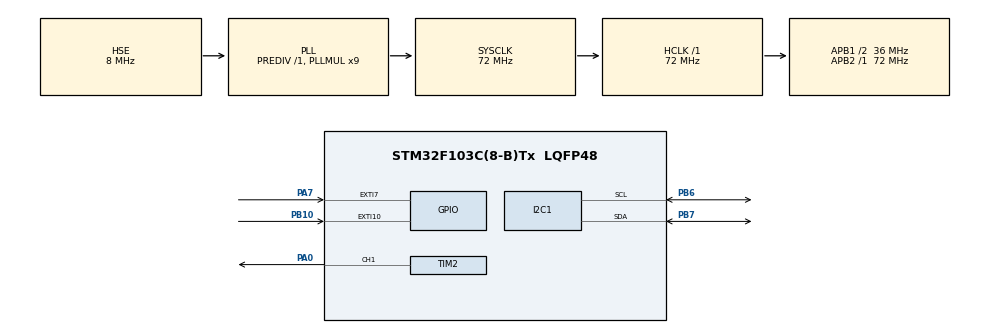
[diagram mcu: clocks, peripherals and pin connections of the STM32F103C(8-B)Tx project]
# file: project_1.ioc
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Mcu.Family=STM32F1
Mcu.Name=STM32F103C(8-B)Tx
Mcu.Package=LQFP48
NVIC.EXTI15_10_IRQn=true\:0\:0\:false\:false\:true\:true\:true\:true
NVIC.EXTI9_5_IRQn=true\:0\:0\:false\:false\:true\:true\:true\:true
NVIC.PriorityGroup=NVIC_PRIORITYGROUP_4
NVIC.TIM1_UP_IRQn=true\:0\:0\:false\:false\:true\:true\:true\:true
NVIC.TIM3_IRQn=true\:0\:0\:false\:false\:true\:true\:true\:true
PA0-WKUP.Signal=S_TIM2_CH1_ETR
PA13.Mode=Serial_Wire
PA13.Signal=SYS_JTMS-SWDIO
PA14.Mode=Serial_Wire
PA14.Signal=SYS_JTCK-SWCLK
PA7.GPIO_PuPd=GPIO_PULLUP
PA7.Signal=GPXTI7
PB10.GPIO_PuPd=GPIO_PULLUP
PB10.Signal=GPXTI10
PB6.Mode=I2C
PB6.Signal=I2C1_SCL
PB7.Mode=I2C
PB7.Signal=I2C1_SDA
PD0-OSC_IN.Mode=HSE-External-Oscillator
PD0-OSC_IN.Signal=RCC_OSC_IN
PD1-OSC_OUT.Mode=HSE-External-Oscillator
PD1-OSC_OUT.Signal=RCC_OSC_OUT
ProjectManager.HeapSize=0x200
ProjectManager.StackSize=0x400
ProjectManager.TargetToolchain=MDK-ARM V5.32
RCC.AHBFreq_Value=72000000
RCC.APB1CLKDivider=RCC_HCLK_DIV2
RCC.APB1Freq_Value=36000000
RCC.APB1TimFreq_Value=72000000
RCC.APB2Freq_Value=72000000
RCC.APB2TimFreq_Value=72000000
RCC.HCLKFreq_Value=72000000
RCC.PLLMUL=RCC_PLL_MUL9
RCC.PLLSourceVirtual=RCC_PLLSOURCE_HSE
RCC.SYSCLKFreq_VALUE=72000000
RCC.SYSCLKSource=RCC_SYSCLKSOURCE_PLLCLK
RCC.USBFreq_Value=72000000
SH.S_TIM2_CH1_ETR.0=TIM2_CH1,PWM Generation1 CH1
TIM1.Period=0xffff
TIM1.Prescaler=71
TIM2.Channel-PWM\ Generation1\ CH1=TIM_CHANNEL_1
TIM2.Period=1000
TIM2.Prescaler=71
TIM3.Period=9999
TIM3.Prescaler=71
VP_TIM1_VS_ClockSourceINT.Mode=Internal
VP_TIM3_VS_ClockSourceINT.Mode=Internal
board=custom

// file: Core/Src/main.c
/* USER CODE BEGIN Header */
/**
  ******************************************************************************
  * @file           : main.c
  * @brief          : Main program body
  ******************************************************************************
  * @attention
  *
  * <h2><center>&copy; Copyright (c) 2022 STMicroelectronics.
  * All rights reserved.</center></h2>
  *
  * This software component is licensed by ST under BSD 3-Clause license,
  * the "License"; You may not use this file except in compliance with the
  * License. You may obtain a copy of the License at:
  *                        opensource.org/licenses/BSD-3-Clause
  *
  ******************************************************************************
  */
/* USER CODE END Header */
#include "main.h"
#include "i2c-lcd.h"  // Bao g?m t?p tiъu d? ch?a khai bсo hрm lcd_init
#include <stdio.h>

I2C_HandleTypeDef hi2c1;

TIM_HandleTypeDef htim1;
TIM_HandleTypeDef htim2;
TIM_HandleTypeDef htim3;

void SystemClock_Config(void);
static void MX_GPIO_Init(void);
static void MX_TIM1_Init(void);
static void MX_I2C1_Init(void);
static void MX_TIM2_Init(void);
static void MX_TIM3_Init(void);

/* USER CODE BEGIN 0 */

//Sensor
#define DHT22_PORT GPIOB
#define DHT22_PIN GPIO_PIN_9
uint8_t RH1, RH2, TC1, TC2, SUM, CHECK;
uint32_t pMillis, cMillis;
float Temp = 0;
float tFahrenheit = 0;
float RH = 0;
int output =0;
//PID
float error = 0, error_truoc = 0;
float P;
static float integral = 0, derivative =0;
float interaltruoc;
float setpoint = 37, Kp = 120, Ki = 4, Kd = 5;
float Delta_t = 0.01;
//PID
void microDelay (uint16_t delay)
{
  __HAL_TIM_SET_COUNTER(&htim1, 0);
  while (__HAL_TIM_GET_COUNTER(&htim1) < delay);
}

//DHT22
uint8_t DHT22_Start (void)
{
  uint8_t Response = 0;
  GPIO_InitTypeDef GPIO_InitStructPrivate = {0};
  GPIO_InitStructPrivate.Pin = DHT22_PIN;
  GPIO_InitStructPrivate.Mode = GPIO_MODE_OUTPUT_PP;
  GPIO_InitStructPrivate.Speed = GPIO_SPEED_FREQ_LOW;
  GPIO_InitStructPrivate.Pull = GPIO_NOPULL;
  HAL_GPIO_Init(DHT22_PORT, &GPIO_InitStructPrivate); // set the pin as output
  HAL_GPIO_WritePin (DHT22_PORT, DHT22_PIN, 0);   // pull the pin low
  microDelay (1300);   // wait for 1300us
  HAL_GPIO_WritePin (DHT22_PORT, DHT22_PIN, 1);   // pull the pin high
  microDelay (30);   // wait for 30us
  GPIO_InitStructPrivate.Mode = GPIO_MODE_INPUT;
  GPIO_InitStructPrivate.Pull = GPIO_PULLUP;
  HAL_GPIO_Init(DHT22_PORT, &GPIO_InitStructPrivate); // set the pin as input
  microDelay (40);
  if (!(HAL_GPIO_ReadPin (DHT22_PORT, DHT22_PIN)))
  {
    microDelay (80);
    if ((HAL_GPIO_ReadPin (DHT22_PORT, DHT22_PIN))) Response = 1;
  }
  pMillis = HAL_GetTick();
  cMillis = HAL_GetTick();
  while ((HAL_GPIO_ReadPin (DHT22_PORT, DHT22_PIN)) && pMillis + 2 > cMillis)
  {
    cMillis = HAL_GetTick();
  }
  return Response;
}

uint8_t DHT22_Read (void)
{
  uint8_t a,b;
  for (a=0;a<8;a++)
  {
    pMillis = HAL_GetTick();
    cMillis = HAL_GetTick();
    while (!(HAL_GPIO_ReadPin (DHT22_PORT, DHT22_PIN)) && pMillis + 2 > cMillis)
    {  // wait for the pin to go high
      cMillis = HAL_GetTick();
    }
    microDelay (40);   // wait for 40 us
    if (!(HAL_GPIO_ReadPin (DHT22_PORT, DHT22_PIN)))   // if the pin is low
      b&= ~(1<<(7-a)); //bit 0
    else
      b|= (1<<(7-a)); // bit 1
    pMillis = HAL_GetTick();
    cMillis = HAL_GetTick();
    while ((HAL_GPIO_ReadPin (DHT22_PORT, DHT22_PIN)) && pMillis + 2 > cMillis)
    {  // wait for the pin to go low
      cMillis = HAL_GetTick();
    }
  }
  return b;
}
void DHT22(){
	if(DHT22_Start())
	      {
	        RH1 = DHT22_Read(); // First 8bits of humidity
	        RH2 = DHT22_Read(); // Second 8bits of Relative humidity
	        TC1 = DHT22_Read(); // First 8bits of Celsius
	        TC2 = DHT22_Read(); // Second 8bits of Celsius
	        SUM = DHT22_Read(); // Check sum
	        CHECK = RH1 + RH2 + TC1 + TC2;
	        if (CHECK == SUM)
	        {
	          if (TC1>127) // If TC1=10000000, negative temperature
	          {
	            Temp = (float)TC2/10*(-1);
	          }
	          else
	          {
	            Temp = (float)((TC1<<8)|TC2)/10;
	          }
	          RH = (float) ((RH1<<8)|RH2)/10;
	        }
	      }
}
//DHT22

//Timer3 using update time ( updatetime = 0.01 second)
void TIM3_IRQHandler(void)
{
  /* USER CODE BEGIN TIM3_IRQn 0 */
	DHT22();
	error = setpoint - Temp;
	P = Kp * error;
	integral = interaltruoc + (error*Delta_t);
	interaltruoc = integral;
	derivative = (error - error_truoc)/ Delta_t;
	int pwm = (int) ((P) + ( Ki * integral) + (Kd * derivative));
  error_truoc = error;
	if(pwm > 1000){
		output = 1000;
	} else if (pwm < 0){
		output = 0;
	} else {
	output = pwm;
	}
	__HAL_TIM_SET_COMPARE(&htim2, TIM_CHANNEL_1,output);
	/* USER CODE END TIM3_IRQn 0 */
  HAL_TIM_IRQHandler(&htim3);
  /* USER CODE BEGIN TIM3_IRQn 1 */

  /* USER CODE END TIM3_IRQn 1 */

}

//Button using interrupt
void HAL_GPIO_EXTI_Callback(uint16_t GPIO_Pin)
{
    static uint32_t last_interrupt_time = 0;
    uint32_t current_time = HAL_GetTick();

    if (current_time - last_interrupt_time < 200)
    {
        return;
    }

    last_interrupt_time = current_time;

    if (GPIO_Pin == GPIO_PIN_7) //PA7
    {
        setpoint += 0.5;
    }
    else if (GPIO_Pin == GPIO_PIN_10) //PB10
    {
        setpoint -= 0.5;
    }
}

/* USER CODE END 0 */

int main(void)
{

  /* MCU Configuration--------------------------------------------------------*/

  /* Reset of all peripherals, Initializes the Flash interface and the Systick. */
  HAL_Init();

  /* Configure the system clock */
  SystemClock_Config();

  /* Initialize all configured peripherals */
  MX_GPIO_Init();
  MX_TIM1_Init();
  MX_I2C1_Init();
  MX_TIM2_Init();
  MX_TIM3_Init();
  /* USER CODE BEGIN 2 */
	HAL_TIM_PWM_Start(&htim2, TIM_CHANNEL_1);
  lcd_init();
  HAL_TIM_Base_Start(&htim1);
	HAL_TIM_Base_Start_IT(&htim3);
  /* USER CODE END 2 */

  /* Infinite loop */
  while (1)
  {

    /* USER CODE BEGIN 3 */
				//Display LCD
	      char temperatureString[16];
	      sprintf(temperatureString, "%.2f C", Temp);
	      char do_am[16];
	      sprintf(do_am, "%.2f", RH);
				char stringsetpoint[16];
				sprintf(stringsetpoint,"%.2f C",setpoint);
	      lcd_clear();
				lcd_put_cur(1,0);
				lcd_send_string("setpoint");
	      lcd_put_cur(1, 9);
	      lcd_send_string(stringsetpoint);
	      lcd_put_cur(0, 9);
	      lcd_send_string(temperatureString);
				lcd_put_cur(0, 0);
	      lcd_send_string("Temp");
				HAL_Delay(700);
  }
  /* USER CODE END 3 */
}

void SystemClock_Config(void)
{
  RCC_OscInitTypeDef RCC_OscInitStruct = {0};
  RCC_ClkInitTypeDef RCC_ClkInitStruct = {0};

  /** Initializes the RCC Oscillators according to the specified parameters
  * in the RCC_OscInitTypeDef structure.
  */
  RCC_OscInitStruct.OscillatorType = RCC_OSCILLATORTYPE_HSE;
  RCC_OscInitStruct.HSEState = RCC_HSE_ON;
  RCC_OscInitStruct.HSEPredivValue = RCC_HSE_PREDIV_DIV1;
  RCC_OscInitStruct.HSIState = RCC_HSI_ON;
  RCC_OscInitStruct.PLL.PLLState = RCC_PLL_ON;
  RCC_OscInitStruct.PLL.PLLSource = RCC_PLLSOURCE_HSE;
  RCC_OscInitStruct.PLL.PLLMUL = RCC_PLL_MUL9;
  if (HAL_RCC_OscConfig(&RCC_OscInitStruct) != HAL_OK)
  {
    Error_Handler();
  }

  /** Initializes the CPU, AHB and APB buses clocks
  */
  RCC_ClkInitStruct.ClockType = RCC_CLOCKTYPE_HCLK|RCC_CLOCKTYPE_SYSCLK
                              |RCC_CLOCKTYPE_PCLK1|RCC_CLOCKTYPE_PCLK2;
  RCC_ClkInitStruct.SYSCLKSource = RCC_SYSCLKSOURCE_PLLCLK;
  RCC_ClkInitStruct.AHBCLKDivider = RCC_SYSCLK_DIV1;
  RCC_ClkInitStruct.APB1CLKDivider = RCC_HCLK_DIV2;
  RCC_ClkInitStruct.APB2CLKDivider = RCC_HCLK_DIV1;

  if (HAL_RCC_ClockConfig(&RCC_ClkInitStruct, FLASH_LATENCY_2) != HAL_OK)
  {
    Error_Handler();
  }
}

static void MX_I2C1_Init(void)
{

  hi2c1.Instance = I2C1;
  hi2c1.Init.ClockSpeed = 100000;
  hi2c1.Init.DutyCycle = I2C_DUTYCYCLE_2;
  hi2c1.Init.OwnAddress1 = 0;
  hi2c1.Init.AddressingMode = I2C_ADDRESSINGMODE_7BIT;
  hi2c1.Init.DualAddressMode = I2C_DUALADDRESS_DISABLE;
  hi2c1.Init.OwnAddress2 = 0;
  hi2c1.Init.GeneralCallMode = I2C_GENERALCALL_DISABLE;
  hi2c1.Init.NoStretchMode = I2C_NOSTRETCH_DISABLE;
  if (HAL_I2C_Init(&hi2c1) != HAL_OK)
  {
    Error_Handler();
  }

}

static void MX_TIM1_Init(void)
{

  TIM_ClockConfigTypeDef sClockSourceConfig = {0};
  TIM_MasterConfigTypeDef sMasterConfig = {0};

  htim1.Instance = TIM1;
  htim1.Init.Prescaler = 71;
  htim1.Init.CounterMode = TIM_COUNTERMODE_UP;
  htim1.Init.Period = 0xffff;
  htim1.Init.ClockDivision = TIM_CLOCKDIVISION_DIV1;
  htim1.Init.RepetitionCounter = 0;
  htim1.Init.AutoReloadPreload = TIM_AUTORELOAD_PRELOAD_DISABLE;
  if (HAL_TIM_Base_Init(&htim1) != HAL_OK)
  {
    Error_Handler();
  }
  sClockSourceConfig.ClockSource = TIM_CLOCKSOURCE_INTERNAL;
  if (HAL_TIM_ConfigClockSource(&htim1, &sClockSourceConfig) != HAL_OK)
  {
    Error_Handler();
  }
  sMasterConfig.MasterOutputTrigger = TIM_TRGO_RESET;
  sMasterConfig.MasterSlaveMode = TIM_MASTERSLAVEMODE_DISABLE;
  if (HAL_TIMEx_MasterConfigSynchronization(&htim1, &sMasterConfig) != HAL_OK)
  {
    Error_Handler();
  }

}

static void MX_TIM2_Init(void)
{

  TIM_MasterConfigTypeDef sMasterConfig = {0};
  TIM_OC_InitTypeDef sConfigOC = {0};

  htim2.Instance = TIM2;
  htim2.Init.Prescaler = 71;
  htim2.Init.CounterMode = TIM_COUNTERMODE_UP;
  htim2.Init.Period = 1000;
  htim2.Init.ClockDivision = TIM_CLOCKDIVISION_DIV1;
  htim2.Init.AutoReloadPreload = TIM_AUTORELOAD_PRELOAD_DISABLE;
  if (HAL_TIM_PWM_Init(&htim2) != HAL_OK)
  {
    Error_Handler();
  }
  sMasterConfig.MasterOutputTrigger = TIM_TRGO_RESET;
  sMasterConfig.MasterSlaveMode = TIM_MASTERSLAVEMODE_DISABLE;
  if (HAL_TIMEx_MasterConfigSynchronization(&htim2, &sMasterConfig) != HAL_OK)
  {
    Error_Handler();
  }
  sConfigOC.OCMode = TIM_OCMODE_PWM1;
  sConfigOC.Pulse = 0;
  sConfigOC.OCPolarity = TIM_OCPOLARITY_HIGH;
  sConfigOC.OCFastMode = TIM_OCFAST_DISABLE;
  if (HAL_TIM_PWM_ConfigChannel(&htim2, &sConfigOC, TIM_CHANNEL_1) != HAL_OK)
  {
    Error_Handler();
  }
  HAL_TIM_MspPostInit(&htim2);

}

static void MX_TIM3_Init(void)
{

  TIM_ClockConfigTypeDef sClockSourceConfig = {0};
  TIM_MasterConfigTypeDef sMasterConfig = {0};

  htim3.Instance = TIM3;
  htim3.Init.Prescaler = 71;
  htim3.Init.CounterMode = TIM_COUNTERMODE_UP;
  htim3.Init.Period = 9999;
  htim3.Init.ClockDivision = TIM_CLOCKDIVISION_DIV1;
  htim3.Init.AutoReloadPreload = TIM_AUTORELOAD_PRELOAD_DISABLE;
  if (HAL_TIM_Base_Init(&htim3) != HAL_OK)
  {
    Error_Handler();
  }
  sClockSourceConfig.ClockSource = TIM_CLOCKSOURCE_INTERNAL;
  if (HAL_TIM_ConfigClockSource(&htim3, &sClockSourceConfig) != HAL_OK)
  {
    Error_Handler();
  }
  sMasterConfig.MasterOutputTrigger = TIM_TRGO_RESET;
  sMasterConfig.MasterSlaveMode = TIM_MASTERSLAVEMODE_DISABLE;
  if (HAL_TIMEx_MasterConfigSynchronization(&htim3, &sMasterConfig) != HAL_OK)
  {
    Error_Handler();
  }

}

static void MX_GPIO_Init(void)
{
  GPIO_InitTypeDef GPIO_InitStruct = {0};

  /* GPIO Ports Clock Enable */
  __HAL_RCC_GPIOD_CLK_ENABLE();
  __HAL_RCC_GPIOA_CLK_ENABLE();
  __HAL_RCC_GPIOB_CLK_ENABLE();

  /*Configure GPIO pin : PA7 */
  GPIO_InitStruct.Pin = GPIO_PIN_7;
  GPIO_InitStruct.Mode = GPIO_MODE_IT_RISING;
  GPIO_InitStruct.Pull = GPIO_PULLUP;
  HAL_GPIO_Init(GPIOA, &GPIO_InitStruct);

  /*Configure GPIO pin : PB10 */
  GPIO_InitStruct.Pin = GPIO_PIN_10;
  GPIO_InitStruct.Mode = GPIO_MODE_IT_RISING;
  GPIO_InitStruct.Pull = GPIO_PULLUP;
  HAL_GPIO_Init(GPIOB, &GPIO_InitStruct);

  /* EXTI interrupt init*/
  HAL_NVIC_SetPriority(EXTI9_5_IRQn, 0, 0);
  HAL_NVIC_EnableIRQ(EXTI9_5_IRQn);

  HAL_NVIC_SetPriority(EXTI15_10_IRQn, 0, 0);
  HAL_NVIC_EnableIRQ(EXTI15_10_IRQn);

}

void Error_Handler(void)
{
}
